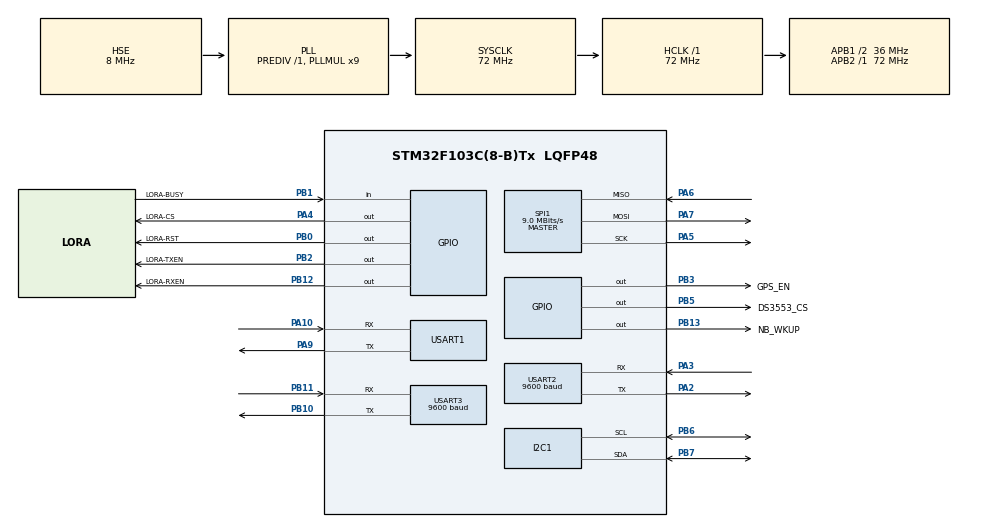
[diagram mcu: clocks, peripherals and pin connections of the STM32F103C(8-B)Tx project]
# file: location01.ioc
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Mcu.Family=STM32F1
Mcu.Name=STM32F103C(8-B)Tx
Mcu.Package=LQFP48
NVIC.PriorityGroup=NVIC_PRIORITYGROUP_4
PA10.Mode=Asynchronous
PA10.Signal=USART1_RX
PA13.Mode=Serial_Wire
PA13.Signal=SYS_JTMS-SWDIO
PA14.Mode=Serial_Wire
PA14.Signal=SYS_JTCK-SWCLK
PA2.Mode=Asynchronous
PA2.Signal=USART2_TX
PA3.Mode=Asynchronous
PA3.Signal=USART2_RX
PA4.GPIO_Label=LORA-CS
PA4.PinState=GPIO_PIN_SET
PA4.Signal=GPIO_Output
PA5.Mode=Full_Duplex_Master
PA5.Signal=SPI1_SCK
PA6.Mode=Full_Duplex_Master
PA6.Signal=SPI1_MISO
PA7.Mode=Full_Duplex_Master
PA7.Signal=SPI1_MOSI
PA9.Mode=Asynchronous
PA9.Signal=USART1_TX
PB0.GPIO_Label=LORA-RST
PB0.PinState=GPIO_PIN_SET
PB0.Signal=GPIO_Output
PB1.GPIO_Label=LORA-BUSY
PB1.Signal=GPIO_Input
PB10.Mode=Asynchronous
PB10.Signal=USART3_TX
PB11.Mode=Asynchronous
PB11.Signal=USART3_RX
PB12.GPIO_Label=LORA-RXEN
PB12.Signal=GPIO_Output
PB13.GPIO_Label=NB_WKUP
PB13.Signal=GPIO_Output
PB2.GPIO_Label=LORA-TXEN
PB2.Signal=GPIO_Output
PB3.GPIO_Label=GPS_EN
PB3.PinState=GPIO_PIN_SET
PB3.Signal=GPIO_Output
PB5.GPIO_Label=DS3553_CS
PB5.PinState=GPIO_PIN_SET
PB5.Signal=GPIO_Output
PB6.Mode=I2C
PB6.Signal=I2C1_SCL
PB7.Mode=I2C
PB7.Signal=I2C1_SDA
PC14-OSC32_IN.Mode=LSE-External-Oscillator
PC14-OSC32_IN.Signal=RCC_OSC32_IN
PC15-OSC32_OUT.Mode=LSE-External-Oscillator
PC15-OSC32_OUT.Signal=RCC_OSC32_OUT
PD0-OSC_IN.Mode=HSE-External-Oscillator
PD0-OSC_IN.Signal=RCC_OSC_IN
PD1-OSC_OUT.Mode=HSE-External-Oscillator
PD1-OSC_OUT.Signal=RCC_OSC_OUT
ProjectManager.HeapSize=0x200
ProjectManager.StackSize=0x400
ProjectManager.TargetToolchain=MDK-ARM V5.32
RCC.AHBFreq_Value=72000000
RCC.APB1CLKDivider=RCC_HCLK_DIV2
RCC.APB1Freq_Value=36000000
RCC.APB1TimFreq_Value=72000000
RCC.APB2Freq_Value=72000000
RCC.APB2TimFreq_Value=72000000
RCC.HCLKFreq_Value=72000000
RCC.PLLMUL=RCC_PLL_MUL9
RCC.PLLSourceVirtual=RCC_PLLSOURCE_HSE
RCC.SYSCLKFreq_VALUE=72000000
RCC.SYSCLKSource=RCC_SYSCLKSOURCE_PLLCLK
RCC.USBFreq_Value=72000000
SPI1.BaudRatePrescaler=SPI_BAUDRATEPRESCALER_8
SPI1.CalculateBaudRate=9.0 MBits/s
SPI1.Direction=SPI_DIRECTION_2LINES
SPI1.Mode=SPI_MODE_MASTER
SPI1.VirtualType=VM_MASTER
USART1.VirtualMode=VM_ASYNC
USART2.BaudRate=9600
USART2.VirtualMode=VM_ASYNC
USART3.BaudRate=9600
USART3.VirtualMode=VM_ASYNC
VP_RTC_VS_RTC_Activate.Mode=RTC_Enabled
board=custom

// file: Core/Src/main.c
/* USER CODE BEGIN Header */
/**
  ******************************************************************************
  * @file           : main.c
  * @brief          : Main program body
  ******************************************************************************
  * @attention
  *
  * Copyright (c) 2025 STMicroelectronics.
  * All rights reserved.
  *
  * This software is licensed under terms that can be found in the LICENSE file
  * in the root directory of this software component.
  * If no LICENSE file comes with this software, it is provided AS-IS.
  *
  ******************************************************************************
  */
/* USER CODE END Header */
#include "main.h"
#include "i2c.h"
#include "rtc.h"
#include "spi.h"
#include "usart.h"
#include "gpio.h"

/* USER CODE BEGIN Includes */
#include "Com_Debug.h"
#include "Com_Tool.h"
#include "Int_AT6558R.h"
#include "Int_DS3553.h"
#include "Int_LoRa.h"
#include "Int_QS100.h"
#include "Lower_mode.h"
#include "app_location.h"
/* USER CODE END Includes */

void SystemClock_Config(void);

int main(void)
{

  /* MCU Configuration--------------------------------------------------------*/

  /* Reset of all peripherals, Initializes the Flash interface and the Systick. */
  HAL_Init();

  /* Configure the system clock */
  SystemClock_Config();

  /* Initialize all configured peripherals */
  MX_GPIO_Init();
  MX_USART1_UART_Init();
  MX_USART2_UART_Init();
  MX_I2C1_Init();
  MX_SPI1_Init();
  MX_USART3_UART_Init();
  MX_RTC_Init();
  /* USER CODE BEGIN 2 */

  Com_Debug_Init();
  //Int_AT6558R_Init();
  //Int_DS3553_Init();

  //Int_LoRa_Init();
  //Int_QS100_Init();
  /* USER CODE END 2 */

  /* Infinite loop */
  /* USER CODE BEGIN WHILE */
  Exit_Lower_Mode();
  DEBUG_PRINTF("Start");

  app_location_get_gps_Data();

  app_location_get_step_Data();

  app_location_Data_to_JSON();

  app_location_send_data();

  Enter_Lower_Mode();

  while (1)
  {

    //Int_AT6558R_ReadGPS();
    /* USER CODE END WHILE */

  }
}

void SystemClock_Config(void)
{
  RCC_OscInitTypeDef RCC_OscInitStruct = {0};
  RCC_ClkInitTypeDef RCC_ClkInitStruct = {0};
  RCC_PeriphCLKInitTypeDef PeriphClkInit = {0};

  /** Initializes the RCC Oscillators according to the specified parameters
  * in the RCC_OscInitTypeDef structure.
  */
  RCC_OscInitStruct.OscillatorType = RCC_OSCILLATORTYPE_LSI|RCC_OSCILLATORTYPE_HSE;
  RCC_OscInitStruct.HSEState = RCC_HSE_ON;
  RCC_OscInitStruct.HSEPredivValue = RCC_HSE_PREDIV_DIV1;
  RCC_OscInitStruct.HSIState = RCC_HSI_ON;
  RCC_OscInitStruct.LSIState = RCC_LSI_ON;
  RCC_OscInitStruct.PLL.PLLState = RCC_PLL_ON;
  RCC_OscInitStruct.PLL.PLLSource = RCC_PLLSOURCE_HSE;
  RCC_OscInitStruct.PLL.PLLMUL = RCC_PLL_MUL9;
  if (HAL_RCC_OscConfig(&RCC_OscInitStruct) != HAL_OK)
  {
    Error_Handler();
  }

  /** Initializes the CPU, AHB and APB buses clocks
  */
  RCC_ClkInitStruct.ClockType = RCC_CLOCKTYPE_HCLK|RCC_CLOCKTYPE_SYSCLK
                              |RCC_CLOCKTYPE_PCLK1|RCC_CLOCKTYPE_PCLK2;
  RCC_ClkInitStruct.SYSCLKSource = RCC_SYSCLKSOURCE_PLLCLK;
  RCC_ClkInitStruct.AHBCLKDivider = RCC_SYSCLK_DIV1;
  RCC_ClkInitStruct.APB1CLKDivider = RCC_HCLK_DIV2;
  RCC_ClkInitStruct.APB2CLKDivider = RCC_HCLK_DIV1;

  if (HAL_RCC_ClockConfig(&RCC_ClkInitStruct, FLASH_LATENCY_2) != HAL_OK)
  {
    Error_Handler();
  }
  PeriphClkInit.PeriphClockSelection = RCC_PERIPHCLK_RTC;
  PeriphClkInit.RTCClockSelection = RCC_RTCCLKSOURCE_LSI;
  if (HAL_RCCEx_PeriphCLKConfig(&PeriphClkInit) != HAL_OK)
  {
    Error_Handler();
  }
}

void Error_Handler(void)
{
  __disable_irq();
  while (1)
  {
  }
}
